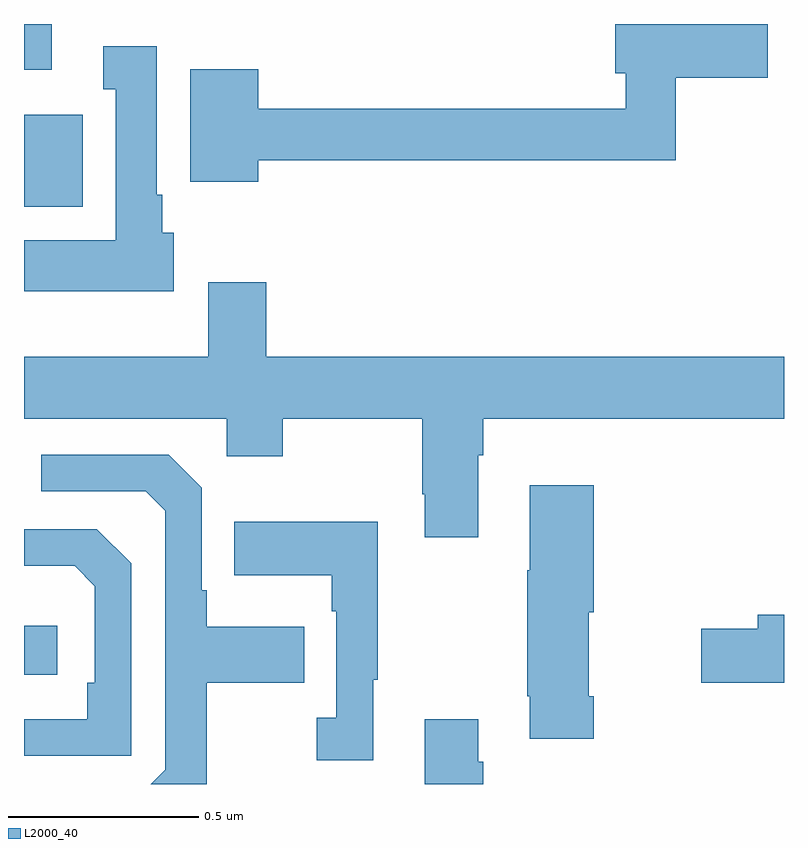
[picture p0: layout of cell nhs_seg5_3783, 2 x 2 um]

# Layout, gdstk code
import gdstk
lib = gdstk.Library(unit=1e-6, precision=1e-09)
def R(c, l, rs):  # rectangles x0, y0, x1, y1
    for r in rs: c.add(gdstk.rectangle(r[:2], r[2:], *l))
def P(c, l, *ps):  # polygons
    for p in ps: c.add(gdstk.Polygon(p, *l))
L2000_40 = (2000, 40)

nhs_seg5_3783 = lib.new_cell('nhs_seg5_3783')
R(nhs_seg5_3783, L2000_40, [(162,856.086,162.088,856.216), (162,857.318,162.154,857.56), (162,857.678,162.073,857.799)])
P(nhs_seg5_3783, L2000_40, [(162.616,857.44),(163.715,857.44),(163.715,857.657),(163.957,857.657),(163.957,857.799),(163.556,857.799),(163.556,857.669),(163.583,857.669),(163.583,857.576),(162.616,857.576),(162.616,857.68),(162.437,857.68),(162.437,857.384),(162.616,857.384)],
  [(162.394,857.25),(162.364,857.25),(162.364,857.35),(162.349,857.35),(162.349,857.74),(162.209,857.74),(162.209,857.627),(162.242,857.627),(162.242,857.23),(162,857.23),(162,857.096),(162.394,857.096)],
  [(162.638,857.119),(162.485,857.119),(162.485,856.924),(162,856.924),(162,856.76),(162.534,856.76),(162.534,856.661),(162.681,856.661),(162.681,856.76),(163.048,856.76),(163.048,856.561),(163.055,856.561),(163.055,856.449),(163.195,856.449),(163.195,856.664),(163.208,856.664),(163.208,856.76),(164,856.76),(164,856.924),(162.638,856.924)],
  [(162.481,856.066),(162.737,856.066),(162.737,856.213),(162.481,856.213),(162.481,856.309),(162.468,856.309),(162.468,856.578),(162.381,856.665),(162.045,856.665),(162.045,856.569),(162.321,856.569),(162.372,856.518),(162.372,855.837),(162.334,855.799),(162.481,855.799)],
  [(163.499,856.03),(163.486,856.03),(163.486,856.251),(163.499,856.251),(163.499,856.585),(163.331,856.585),(163.331,856.361),(163.324,856.361),(163.324,856.03),(163.331,856.03),(163.331,855.918),(163.499,855.918)],
  [(162.919,856.073),(162.931,856.073),(162.931,856.489),(162.553,856.489),(162.553,856.349),(162.81,856.349),(162.81,856.253),(162.822,856.253),(162.822,855.974),(162.771,855.974),(162.771,855.861),(162.919,855.861)],
  [(162.282,856.38),(162.192,856.47),(162,856.47),(162,856.373),(162.133,856.373),(162.186,856.32),(162.186,856.066),(162.166,856.066),(162.166,855.969),(162,855.969),(162,855.873),(162.282,855.873)],
  [(164,856.244),(163.931,856.244),(163.931,856.208),(163.782,856.208),(163.782,856.066),(164,856.066)],
  [(163.208,855.857),(163.195,855.857),(163.195,855.97),(163.055,855.97),(163.055,855.799),(163.208,855.799)])

lib.write_gds('nhs_seg5_3783.gds')
